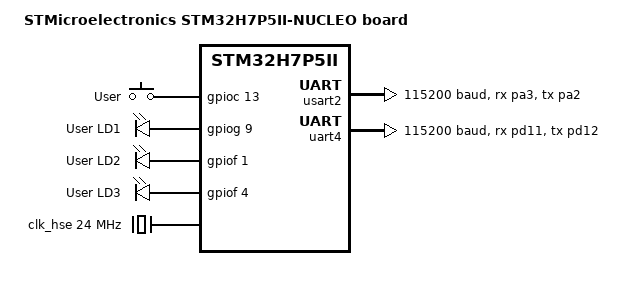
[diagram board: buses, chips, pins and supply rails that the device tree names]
/*
 * SPDX-FileCopyrightText: Copyright (c) 2026 STMicroelectronics
 * SPDX-License-Identifier: Apache-2.0
 */

/dts-v1/;
#include <st/h7p/stm32h7p5Xi.dtsi>
#include <st/h7p/stm32h7p(4-5)i(g-i)kx-pinctrl.dtsi>
#include "arduino_r3_connector.dtsi"
#include "st_morpho_connector.dtsi"

#include <zephyr/dt-bindings/input/input-event-codes.h>

/ {
	compatible = "st,stm32h7p5ii-nucleo";
	model = "STMicroelectronics STM32H7P5II-NUCLEO board";

	aliases {
		led0 = &green_led;
		led1 = &red_led;
		led2 = &blue_led;
		sw0 = &user_button;
	};

	chosen {
		zephyr,console = &usart2;
		zephyr,shell-uart = &usart2;
	};

	gpio-keys {
		compatible = "gpio-keys";

		user_button: button_0 {
			label = "User";
			gpios = <&gpioc 13 (GPIO_ACTIVE_HIGH | GPIO_PULL_DOWN)>;
			zephyr,code = <INPUT_KEY_0>;
		};
	};

	leds {
		compatible = "gpio-leds";

		green_led: led_0 {
			gpios = <&gpiog 9 GPIO_ACTIVE_HIGH>;
			label = "User LD1";
		};

		red_led: led_1 {
			gpios = <&gpiof 1 GPIO_ACTIVE_HIGH>;
			label = "User LD2";
		};

		blue_led: led_2 {
			gpios = <&gpiof 4 GPIO_ACTIVE_HIGH>;
			label = "User LD3";
		};
	};
};

&clk_lse {
	driving-capability = <0>;
	status = "okay";
};

&clk_hse {
	clock-frequency = <DT_FREQ_M(24)>;
	status = "okay";
};

&pll {
	/*
	 * f(hse_ck)    =  24 MHz
	 * f(vco1_ck)   = 520 MHz: (24 / 6) * 130
	 * f(pll1_p_ck) = 520 MHz: (520 / 1)
	 * f(pll1_q_ck) =  65 MHz: (520 / 8)
	 * pll1_s_ck is not used
	 */
	clocks = <&clk_hse>;
	div-m = <6>;
	mul-n = <130>;
	div-p = <1>;
	div-q = <8>;
	status = "okay";
};

&rcc {
	/*
	 * Select pll1_p_ck as system clock (sys_ck).
	 * BMPRE is set to 2 to satisfy Fbus <= Fbusmax = 260 MHz.
	 * PPRE1/PPRE4 are set to 2 to satisfy Fbus <= Fbusmax/2.
	 */
	clocks = <&pll>;
	clock-frequency = <DT_FREQ_M(520)>;
	cpre = <1>;
	bmpre = <2>;
	ppre1 = <2>;
	ppre2 = <1>;
	ppre4 = <2>;
};

&pwr {
	st,power-supply = "internal-regulator";
};

&flash0 {
	partitions {
		ranges;
		#address-cells = <1>;
		#size-cells = <1>;

		boot_partition: partition@0 {
			compatible = "zephyr,mapped-partition";
			reg = <0x00000000 DT_SIZE_K(128)>;
			label = "mcuboot";
		};

		storage_partition: partition@20000 {
			compatible = "zephyr,mapped-partition";
			reg = <0x00020000 DT_SIZE_K(128)>;
			label = "storage";
		};

		application_partition: partition@40000 {
			compatible = "zephyr,mapped-partition";
			reg = <0x00040000 (DT_SIZE_M(2) - DT_SIZE_K(256))>;
			label = "application";
		};
	};
};

/* ST-Link VCP UART */
&usart2 {
	pinctrl-0 = <&usart2_rx_pa3 &usart2_tx_pa2>;
	pinctrl-names = "default";
	current-speed = <115200>;
	status = "okay";
};

&uart4 {
	/* Arduino D0 (RX) / D1 (TX) */
	pinctrl-0 = <&uart4_rx_pd11 &uart4_tx_pd12>;
	pinctrl-names = "default";
	current-speed = <115200>;
	status = "okay";
};
